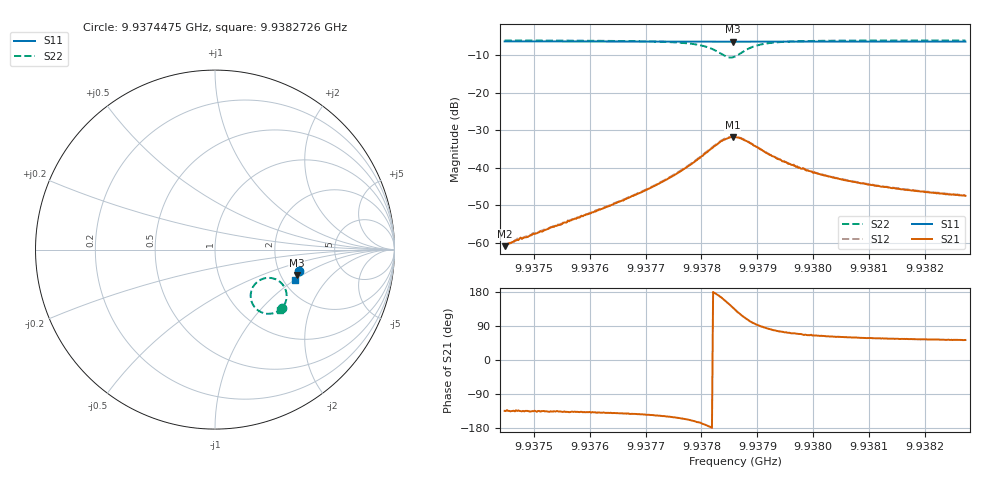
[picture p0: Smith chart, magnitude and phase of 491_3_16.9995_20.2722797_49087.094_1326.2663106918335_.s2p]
#  HZ  S  RI  R  50.00
! Rohde & Schwarz Vector Network Analyzer
! Rohde-Schwarz,ZNB20-2Port,1311601062101988,3.16
! Created: UTC 3/20/2024, 11:14:06 PM
! freq[Hz]  re:S11  im:S11  re:S21  im:S21  re:S12  im:S12  re:S22  im:S22
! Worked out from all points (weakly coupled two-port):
!   401 points, 9.9374475 GHz to 9.9382726 GHz, reference 50 ohm
!   highest |S21| = -31.83 dB at 9.9378559 GHz (marker M1); lowest = -60.9 dB at 9.9374475 GHz (marker M2)
!   lowest |S11| = -6.4 dB at 9.9378559 GHz (marker M3), VSWR 2.83, Z = 122 - j45.3 ohm
!   |S11| at or under -10 dB: nowhere
!   |S22| runs from -10.6 to -6.1 dB; largest |S21 - S12| = 0.0011
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9.9374475e9  0.4684 -0.1183  -0.000626 -0.000643  -0.000654 -0.00066  0.3741 -0.3266
9.93747225e9  0.4678 -0.1199  -0.00074 -0.000789  -0.000811 -0.000762  0.3721 -0.3287
9.93748875e9  0.4672 -0.1211  -0.000834 -0.00085  -0.000848 -0.000864  0.3704 -0.3299
9.93758569e9  0.4651 -0.1275  -0.00166 -0.00156  -0.00171 -0.00152  0.3584 -0.3389
9.93766407e9  0.4632 -0.1327  -0.00296 -0.0024  -0.00305 -0.00235  0.3434 -0.3476
9.93772389e9  0.4616 -0.1368  -0.00515 -0.00332  -0.00525 -0.00333  0.3217 -0.355
9.93776514e9  0.4602 -0.1396  -0.00831 -0.00399  -0.00855 -0.00395  0.2936 -0.3576
9.9378064e9  0.4584 -0.1422  -0.0153 -0.00249  -0.0156 -0.00238  0.239 -0.3381
9.93782083e9  0.4575 -0.1429  -0.0187 0.000177  -0.0193 0.000597  0.2143 -0.3113
9.93783527e9  0.4569 -0.1433  -0.0219 0.00571  -0.0222 0.00637  0.1989 -0.2635
9.93784765e9  0.4563 -0.1434  -0.0214 0.0126  -0.0215 0.0134  0.2102 -0.2105
9.9378559e9  0.4562 -0.1432  -0.0193 0.0169  -0.019 0.0179  0.2355 -0.1798
9.93786002e9  0.4564 -0.1434  -0.0175 0.0186  -0.0171 0.0196  0.2522 -0.1687
9.93787034e9  0.4567 -0.1436  -0.0122 0.0214  -0.0114 0.022  0.2976 -0.1574
9.93788478e9  0.4572 -0.1443  -0.00548 0.021  -0.00474 0.0215  0.349 -0.1709
9.93790953e9  0.4574 -0.1463  0.000667 0.0169  0.00137 0.0169  0.3894 -0.2145
9.93795697e9  0.4566 -0.1501  0.00346 0.0107  0.00379 0.0107  0.3985 -0.2686
9.93799822e9  0.4556 -0.1531  0.00375 0.00794  0.00385 0.00798  0.3936 -0.2918
9.93805185e9  0.4542 -0.1566  0.00338 0.00603  0.00357 0.00606  0.3862 -0.3087
9.93813642e9  0.452 -0.1622  0.00303 0.00453  0.00311 0.00454  0.3764 -0.324
9.9381983e9  0.4501 -0.1662  0.00279 0.00388  0.00289 0.00388  0.3705 -0.3315
9.93827256e9  0.4482 -0.1709  0.00255 0.00336  0.00269 0.00338  0.3643 -0.3383
